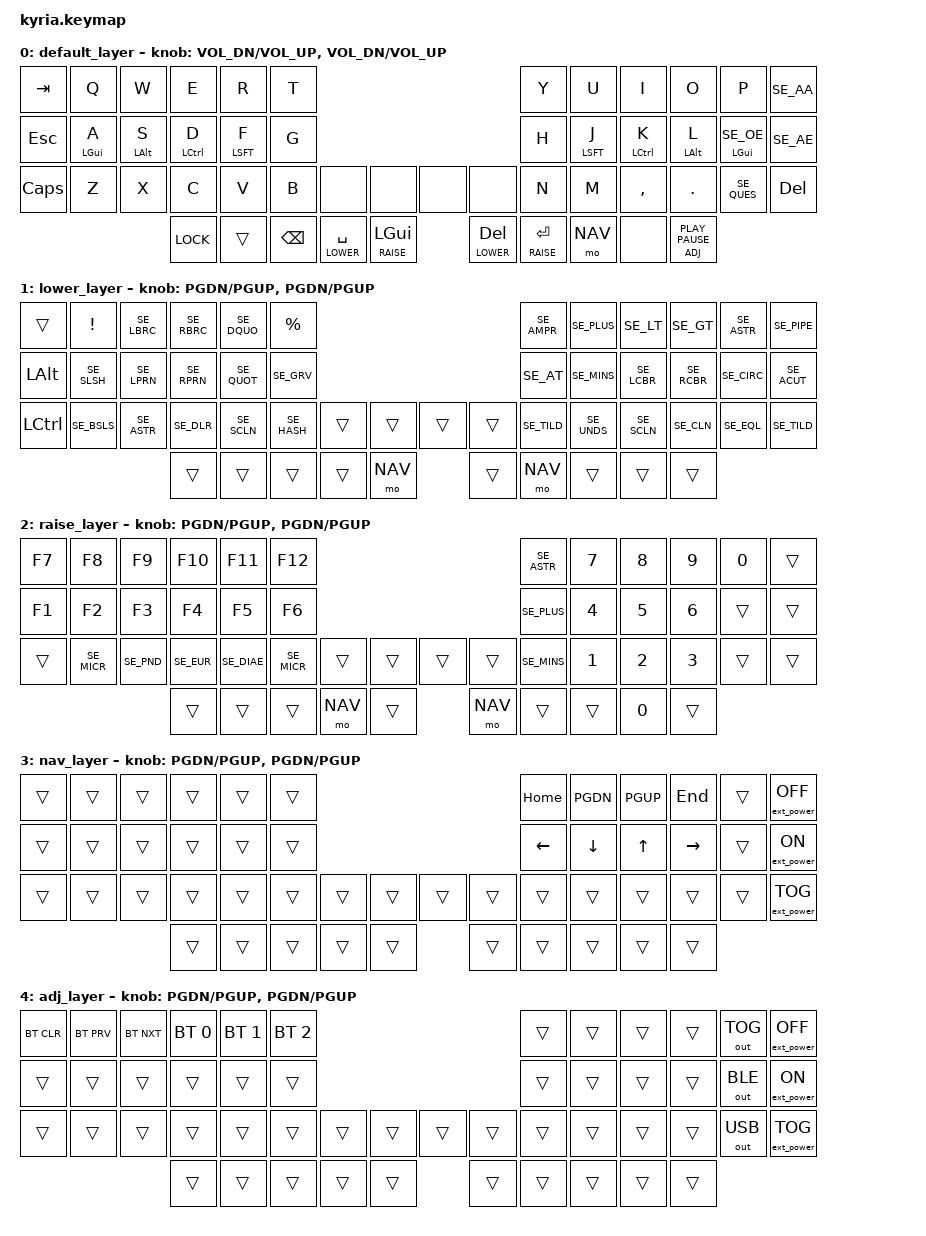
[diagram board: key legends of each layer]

/*
 * Copyright (c) 2020 The ZMK Contributors
 *
 * SPDX-License-Identifier: MIT
 */

#include <behaviors.dtsi>
#include <dt-bindings/zmk/bt.h>
#include <dt-bindings/zmk/keys.h>
#include <dt-bindings/zmk/outputs.h>
#include <dt-bindings/zmk/ext_power.h>
#include "keys-swedish.h"

#define DEFAULT 0
#define LOWER   1
#define RAISE   2
#define NAV     3
#define ADJ     4


&lt {
    tapping_term_ms = <200>;
    flavor = "tap-preferred";
};
&mt {
    tapping_term_ms = <200>;
    flavor = "tap-preferred";
};
&caps_word {
    continue-list = <SE_MINS SE_UNDS SE_AMPR SE_AE SE_OE SE_AA>;
};

/ {
    combos {
        compatible = "zmk,combos";
        combo_caps {
            timeout-ms = <50>;
            key-positions = <16 19>;
            bindings = <&caps_word>;
        };
    };
};

/ {
    behaviors {
        hm: homerow_mods {
            compatible = "zmk,behavior-hold-tap";
            label = "homerow mods";
            #binding-cells = <2>;
            tapping_term_ms = <200>;
            flavor = "tap-preferred";
            bindings = <&kp>, <&kp>;
        };
    };

};


/ {
	keymap {
		compatible = "zmk,keymap";

		default_layer {
// ---------------------------------------------------------------------------------------------------------------------------------
// |  ESC  |  Q  |  W  |  E   |  R   |  T   |                                          |  Y   |  U    |  I    |  O   |   P   |   \  |
// |  TAB  |  A  |  S  |  D   |  F   |  G   |                                          |  H   |  J    |  K    |  L   |   ;   |   '  |
// | SHIFT |  Z  |  X  |  C   |  V   |  B   | L SHIFT | L SHIFT |  | L SHIFT | L SHIFT |  N   |  M    |  ,    |  .   |   /   | CTRL |
//                     | GUI  | DEL  | RET  |  SPACE  |   ESC   |  |   RET   |  SPACE  | TAB  | BSPC  | R-ALT |
			bindings = <
	&kp TAB       &kp Q      &kp W      &kp E      &kp R         &kp T                                                  &kp Y  &kp U  &kp I      &kp O    &kp P        &kp SE_AA
	&kp ESC    &hm LGUI A &hm LALT S &hm LCTL D &hm LSFT F    &kp G                                                  &kp H  &hm LSFT J  &hm LCTL K  &hm LALT L &hm LGUI SE_OE    &kp SE_AE
	&kp CAPS        &kp Z      &kp X      &kp C      &kp V         &kp B  &none &none        &none         &none          &kp N  &kp M  &kp COMMA  &kp DOT  &kp SE_QUES  &kp DEL
	              &kp K_LOCK   &trans  &kp BKSP   &lt LOWER SPC &lt RAISE LGUI              &lt LOWER DEL &lt RAISE RET  &mo NAV &none &lt ADJ K_PLAY_PAUSE
			>;

			sensor-bindings = <&inc_dec_cp C_VOL_DN C_VOL_UP &inc_dec_kp C_VOL_DN C_VOL_UP>;
		};


		lower_layer {
			bindings = <
	&trans    &kp EXCL    &kp SE_LBRC &kp SE_RBRC &kp SE_DQUO &kp PRCNT                                        &kp SE_AMPR  &kp SE_PLUS  &kp SE_LT   &kp SE_GT   &kp SE_ASTR  &kp SE_PIPE
	&kp LALT  &kp SE_SLSH &kp SE_LPRN &kp SE_RPRN &kp SE_QUOT &kp SE_GRV                                       &kp SE_AT    &kp SE_MINS  &kp SE_LCBR &kp SE_RCBR &kp SE_CIRC  &kp SE_ACUT
	&kp LCTL  &kp SE_BSLS &kp SE_ASTR &kp SE_DLR  &kp SE_SCLN &kp SE_HASH &trans &trans          &trans &trans &kp SE_TILD  &kp SE_UNDS  &kp SE_SCLN &kp SE_CLN  &kp SE_EQL   &kp SE_TILD
	                                      &trans      &trans      &trans      &trans &mo NAV          &trans &mo NAV &trans      &trans      &trans
			>;

			sensor-bindings = <&inc_dec_cp PGDN PGUP &inc_dec_kp PGDN PGUP >;
		};


		raise_layer {
			bindings = <
	&kp F7     &kp F8      &kp F9     &kp F10      &kp F11      &kp F12                                       &kp SE_ASTR &kp N7  &kp N8  &kp N9  &kp N0 &trans
	&kp F1     &kp F2      &kp F3     &kp F4       &kp F5       &kp F6                                        &kp SE_PLUS &kp N4  &kp N5  &kp N6  &trans &trans
	&trans     &kp SE_MICR &kp SE_PND &kp SE_EUR   &kp SE_DIAE  &kp SE_MICR &trans &trans     &trans  &trans  &kp SE_MINS &kp N1  &kp N2  &kp N3  &trans &trans
	                                  &trans       &trans       &trans      &mo NAV &trans     &mo NAV  &trans  &trans &kp N0  &trans
			>;

			sensor-bindings = <&inc_dec_cp PGDN PGUP &inc_dec_kp PGDN PGUP >;
		};


		nav_layer {
			bindings = <
	&trans     &trans     &trans     &trans       &trans       &trans                                     &kp HOME &kp PGDN &kp PGUP &kp END   &trans &ext_power EP_OFF
    &trans     &trans     &trans     &trans       &trans       &trans                                     &kp LEFT &kp DOWN &kp UP   &kp RIGHT &trans &ext_power EP_ON
    &trans     &trans     &trans     &trans       &trans       &trans &trans &trans         &trans &trans &trans   &trans   &trans   &trans    &trans &ext_power EP_TOG
	                                 &trans       &trans       &trans &trans &trans         &trans &trans &trans   &trans   &trans
			>;

			sensor-bindings = <&inc_dec_cp PGDN PGUP &inc_dec_kp PGDN PGUP >;

		};


		adj_layer {
			bindings = <
                &bt BT_CLR &bt BT_PRV &bt BT_NXT &bt BT_SEL 0 &bt BT_SEL 1 &bt BT_SEL 2                   &trans &trans &trans &trans  &out OUT_TOG &ext_power EP_OFF
                &trans     &trans     &trans     &trans       &trans       &trans                         &trans &trans &trans &trans  &out OUT_BLE &ext_power EP_ON
    &trans     &trans     &trans     &trans       &trans       &trans &trans &trans         &trans &trans &trans &trans &trans &trans  &out OUT_USB &ext_power EP_TOG
	                                 &trans       &trans       &trans &trans &trans         &trans &trans &trans &trans &trans
			>;

			sensor-bindings = <&inc_dec_cp PGDN PGUP &inc_dec_kp PGDN PGUP >;
		};


	};
};
